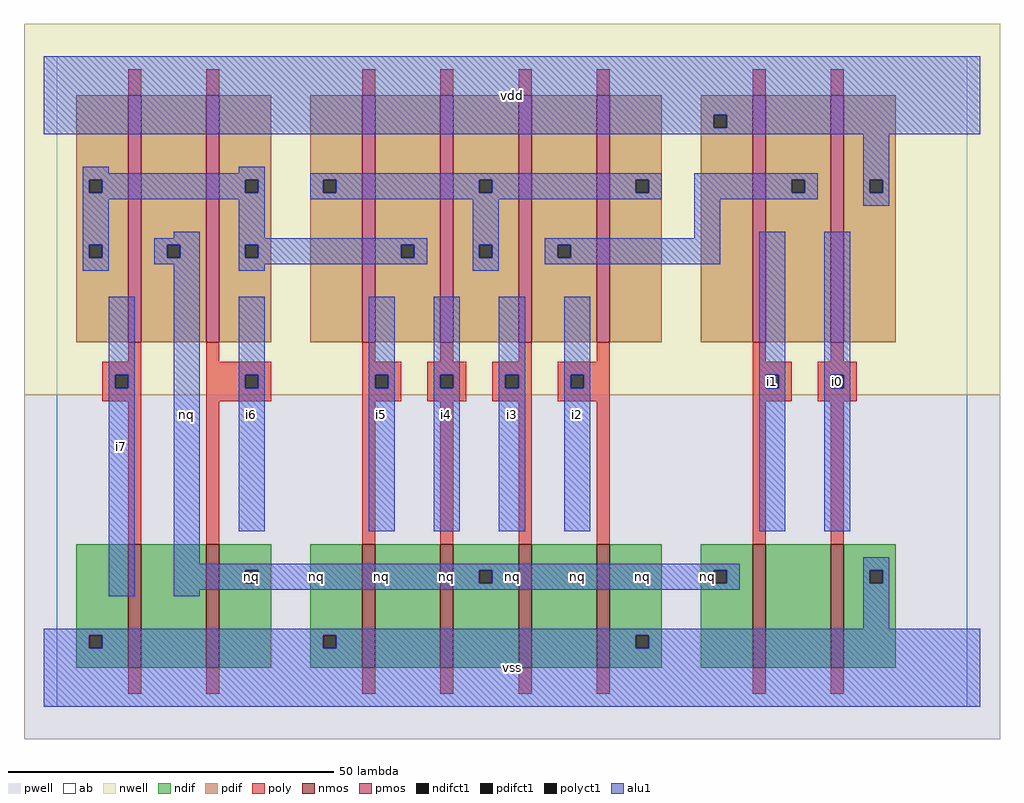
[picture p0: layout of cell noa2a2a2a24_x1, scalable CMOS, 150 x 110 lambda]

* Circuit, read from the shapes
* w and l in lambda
.subckt noa2a2a2a24_x1 i0 i1 i2 i3 i4 i5 i6 i7 nq vdd vss
M1 n1 i7 vss VSUBS nfet w=19 l=2
M2 nq i6 n1 VSUBS nfet w=19 l=2
M3 n2 i5 vss VSUBS nfet w=19 l=2
M4 nq i4 n2 VSUBS nfet w=19 l=2
M5 n3 i3 nq VSUBS nfet w=19 l=2
M6 vss i2 n3 VSUBS nfet w=19 l=2
M7 n4 i1 nq VSUBS nfet w=19 l=2
M8 vss i0 n4 VSUBS nfet w=19 l=2
M9 nq i7 n5 n6 pfet w=38 l=2
M10 n5 i6 nq n6 pfet w=38 l=2
M11 n5 i5 n7 n6 pfet w=38 l=2
M12 n7 i4 n5 n6 pfet w=38 l=2
M13 n8 i3 n7 n6 pfet w=38 l=2
M14 n7 i2 n8 n6 pfet w=38 l=2
M15 n8 i1 vdd n6 pfet w=38 l=2
M16 vdd i0 n8 n6 pfet w=38 l=2
.ends

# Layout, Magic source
magic
tech scmos
<< ab >>
rect 0 0 140 100
<< nwell >>
rect -5 48 145 105
<< pwell >>
rect -5 -5 145 48
<< poly >>
rect 11 94 13 98
rect 23 94 25 98
rect 47 94 49 98
rect 59 94 61 98
rect 71 94 73 98
rect 83 94 85 98
rect 107 94 109 98
rect 119 94 121 98
rect 11 53 13 56
rect 7 51 13 53
rect 7 49 9 51
rect 11 49 13 51
rect 7 47 13 49
rect 11 25 13 47
rect 23 53 25 56
rect 47 53 49 56
rect 59 53 61 56
rect 71 53 73 56
rect 83 53 85 56
rect 23 51 33 53
rect 23 49 29 51
rect 31 49 33 51
rect 23 47 33 49
rect 47 51 53 53
rect 47 49 49 51
rect 51 49 53 51
rect 47 47 53 49
rect 57 51 63 53
rect 57 49 59 51
rect 61 49 63 51
rect 57 47 63 49
rect 67 51 73 53
rect 67 49 69 51
rect 71 49 73 51
rect 67 47 73 49
rect 77 51 85 53
rect 77 49 79 51
rect 81 49 85 51
rect 77 47 85 49
rect 23 25 25 47
rect 47 25 49 47
rect 59 25 61 47
rect 71 25 73 47
rect 83 25 85 47
rect 107 53 109 56
rect 119 53 121 56
rect 107 51 113 53
rect 107 49 109 51
rect 111 49 113 51
rect 107 47 113 49
rect 117 51 123 53
rect 117 49 119 51
rect 121 49 123 51
rect 117 47 123 49
rect 107 25 109 47
rect 119 25 121 47
rect 11 2 13 6
rect 23 2 25 6
rect 47 2 49 6
rect 59 2 61 6
rect 71 2 73 6
rect 83 2 85 6
rect 107 2 109 6
rect 119 2 121 6
<< ndif >>
rect 3 11 11 25
rect 3 9 5 11
rect 7 9 11 11
rect 3 6 11 9
rect 13 6 23 25
rect 25 21 33 25
rect 25 19 29 21
rect 31 19 33 21
rect 25 6 33 19
rect 39 11 47 25
rect 39 9 41 11
rect 43 9 47 11
rect 39 6 47 9
rect 49 6 59 25
rect 61 21 71 25
rect 61 19 65 21
rect 67 19 71 21
rect 61 6 71 19
rect 73 6 83 25
rect 85 11 93 25
rect 85 9 89 11
rect 91 9 93 11
rect 85 6 93 9
rect 99 21 107 25
rect 99 19 101 21
rect 103 19 107 21
rect 99 6 107 19
rect 109 6 119 25
rect 121 21 129 25
rect 121 19 125 21
rect 127 19 129 21
rect 121 6 129 19
<< pdif >>
rect 3 81 11 94
rect 3 79 5 81
rect 7 79 11 81
rect 3 71 11 79
rect 3 69 5 71
rect 7 69 11 71
rect 3 56 11 69
rect 13 71 23 94
rect 13 69 17 71
rect 19 69 23 71
rect 13 56 23 69
rect 25 81 33 94
rect 25 79 29 81
rect 31 79 33 81
rect 25 71 33 79
rect 25 69 29 71
rect 31 69 33 71
rect 25 56 33 69
rect 39 81 47 94
rect 39 79 41 81
rect 43 79 47 81
rect 39 56 47 79
rect 49 71 59 94
rect 49 69 53 71
rect 55 69 59 71
rect 49 56 59 69
rect 61 81 71 94
rect 61 79 65 81
rect 67 79 71 81
rect 61 71 71 79
rect 61 69 65 71
rect 67 69 71 71
rect 61 56 71 69
rect 73 71 83 94
rect 73 69 77 71
rect 79 69 83 71
rect 73 56 83 69
rect 85 81 93 94
rect 85 79 89 81
rect 91 79 93 81
rect 85 56 93 79
rect 99 91 107 94
rect 99 89 101 91
rect 103 89 107 91
rect 99 56 107 89
rect 109 81 119 94
rect 109 79 113 81
rect 115 79 119 81
rect 109 56 119 79
rect 121 81 129 94
rect 121 79 125 81
rect 127 79 129 81
rect 121 56 129 79
<< alu1 >>
rect -2 91 142 100
rect -2 89 101 91
rect 103 89 142 91
rect -2 88 142 89
rect 4 82 8 83
rect 28 82 32 83
rect 4 81 32 82
rect 4 79 5 81
rect 7 79 29 81
rect 31 79 32 81
rect 4 78 32 79
rect 39 81 93 82
rect 39 79 41 81
rect 43 79 65 81
rect 67 79 89 81
rect 91 79 93 81
rect 39 78 93 79
rect 98 81 117 82
rect 98 79 113 81
rect 115 79 117 81
rect 98 78 117 79
rect 124 81 128 88
rect 124 79 125 81
rect 127 79 128 81
rect 4 71 8 78
rect 18 72 22 73
rect 4 69 5 71
rect 7 69 8 71
rect 4 67 8 69
rect 15 71 22 72
rect 15 69 17 71
rect 19 69 22 71
rect 15 68 22 69
rect 8 51 12 63
rect 8 49 9 51
rect 11 49 12 51
rect 8 17 12 49
rect 18 22 22 68
rect 28 72 32 78
rect 28 71 57 72
rect 28 69 29 71
rect 31 69 53 71
rect 55 69 57 71
rect 28 68 57 69
rect 64 71 68 78
rect 98 72 102 78
rect 124 77 128 79
rect 64 69 65 71
rect 67 69 68 71
rect 28 67 32 68
rect 64 67 68 69
rect 75 71 102 72
rect 75 69 77 71
rect 79 69 102 71
rect 75 68 102 69
rect 28 51 32 63
rect 28 49 29 51
rect 31 49 32 51
rect 28 27 32 49
rect 48 51 52 63
rect 48 49 49 51
rect 51 49 52 51
rect 48 27 52 49
rect 58 51 62 63
rect 58 49 59 51
rect 61 49 62 51
rect 58 27 62 49
rect 68 51 72 63
rect 68 49 69 51
rect 71 49 72 51
rect 68 27 72 49
rect 78 51 82 63
rect 78 49 79 51
rect 81 49 82 51
rect 78 27 82 49
rect 108 51 112 73
rect 108 49 109 51
rect 111 49 112 51
rect 108 27 112 49
rect 118 51 122 73
rect 118 49 119 51
rect 121 49 122 51
rect 118 27 122 49
rect 18 21 105 22
rect 18 19 29 21
rect 31 19 65 21
rect 67 19 101 21
rect 103 19 105 21
rect 18 18 105 19
rect 124 21 128 23
rect 124 19 125 21
rect 127 19 128 21
rect 18 17 22 18
rect 124 12 128 19
rect -2 11 142 12
rect -2 9 5 11
rect 7 9 41 11
rect 43 9 89 11
rect 91 9 142 11
rect -2 0 142 9
<< nmos >>
rect 11 6 13 25
rect 23 6 25 25
rect 47 6 49 25
rect 59 6 61 25
rect 71 6 73 25
rect 83 6 85 25
rect 107 6 109 25
rect 119 6 121 25
<< pmos >>
rect 11 56 13 94
rect 23 56 25 94
rect 47 56 49 94
rect 59 56 61 94
rect 71 56 73 94
rect 83 56 85 94
rect 107 56 109 94
rect 119 56 121 94
<< polyct1 >>
rect 9 49 11 51
rect 29 49 31 51
rect 49 49 51 51
rect 59 49 61 51
rect 69 49 71 51
rect 79 49 81 51
rect 109 49 111 51
rect 119 49 121 51
<< ndifct1 >>
rect 5 9 7 11
rect 29 19 31 21
rect 41 9 43 11
rect 65 19 67 21
rect 89 9 91 11
rect 101 19 103 21
rect 125 19 127 21
<< pdifct1 >>
rect 5 79 7 81
rect 5 69 7 71
rect 17 69 19 71
rect 29 79 31 81
rect 29 69 31 71
rect 41 79 43 81
rect 53 69 55 71
rect 65 79 67 81
rect 65 69 67 71
rect 77 69 79 71
rect 89 79 91 81
rect 101 89 103 91
rect 113 79 115 81
rect 125 79 127 81
<< labels >>
rlabel ndifct1 30 20 30 20 6 nq
rlabel alu1 30 45 30 45 6 i6
rlabel alu1 10 40 10 40 6 i7
rlabel alu1 20 45 20 45 6 nq
rlabel alu1 60 20 60 20 6 nq
rlabel alu1 50 20 50 20 6 nq
rlabel alu1 40 20 40 20 6 nq
rlabel alu1 60 45 60 45 6 i4
rlabel alu1 50 45 50 45 6 i5
rlabel alu1 70 20 70 20 6 nq
rlabel alu1 70 6 70 6 6 vss
rlabel alu1 100 20 100 20 6 nq
rlabel alu1 90 20 90 20 6 nq
rlabel alu1 80 20 80 20 6 nq
rlabel alu1 70 45 70 45 6 i3
rlabel alu1 80 45 80 45 6 i2
rlabel alu1 70 94 70 94 6 vdd
rlabel polyct1 120 50 120 50 6 i0
rlabel polyct1 110 50 110 50 6 i1
<< end >>
